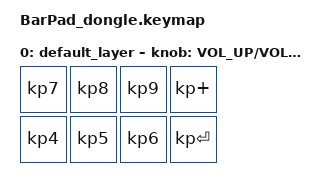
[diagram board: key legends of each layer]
#include <behaviors.dtsi>
#include <dt-bindings/zmk/keys.h>
#include <dt-bindings/zmk/rgb.h>
#include <dt-bindings/zmk/outputs.h>

/ {
    sensors {
        compatible = "zmk,keymap-sensors";
        sensors = <&left_encoder>;
        triggers-per-rotation = <20>;
    };

    keymap {
        compatible = "zmk,keymap";

        default_layer {
            bindings = <
                &kp KP_N7    &kp KP_N8    &kp KP_N9    &kp KP_PLUS
                &kp KP_N4    &kp KP_N5    &kp KP_N6    &kp KP_ENTER
            >;
            sensor-bindings = <&inc_dec_kp C_VOL_UP C_VOL_DN>;
        };
    };
};
